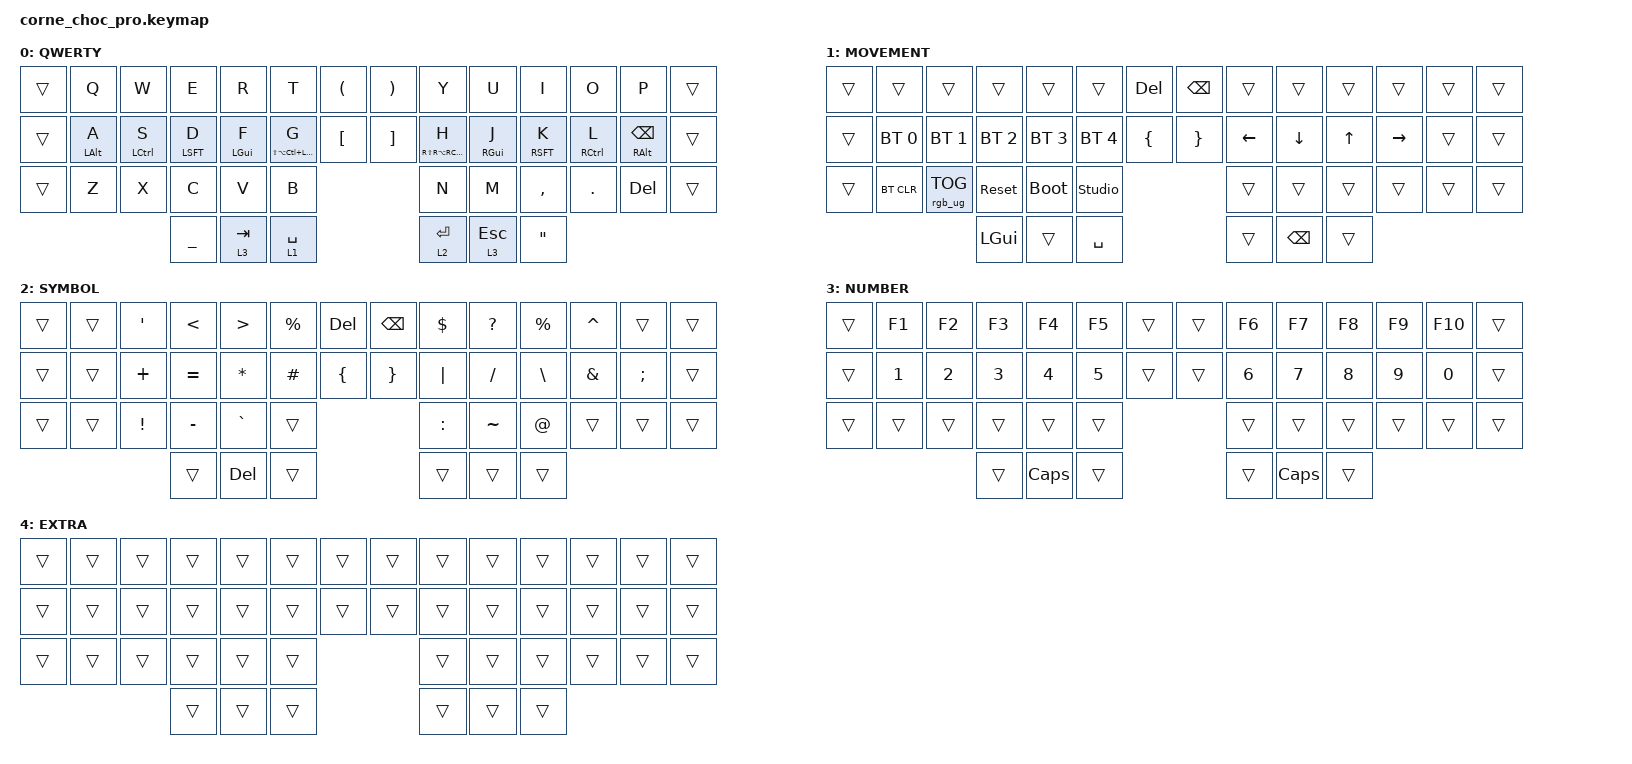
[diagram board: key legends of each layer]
/*
 * Copyright (c) 2020 The ZMK Contributors
 *
 * SPDX-License-Identifier: MIT
 */

#include <behaviors.dtsi>
#include <dt-bindings/zmk/behaviors.h>
#include <dt-bindings/zmk/keys.h>
#include <dt-bindings/zmk/bt.h>
#include <dt-bindings/zmk/rgb.h>

#define LHYP LS(LA(LC(LGUI)))   /* ⇧⌥⌃⌘  on the left side  */
#define RHYP RS(RA(RC(RGUI)))   /* ⇧⌥⌃⌘  on the right side */
#define KEYS_L 0 1 2 3 4 5 6 14 15 16 17 18 19 20 28 29 30 31 32 33 40 41 42
#define KEYS_R 7 8 9 10 11 12 13 21 22 23 24 25 26 27 34 35 36 37 38 39 43 44 45

/ {
    behaviors {
      hml: home_row_mod_left {
        compatible = "zmk,behavior-hold-tap";
        #binding-cells = <2>;
        flavor = "balanced";
        require-prior-idle-ms = <150>;   /* keeps fast typing snappy   */
        tapping-term-ms       = <280>;   /* gives you 0.28 s to decide */
        quick-tap-ms          = <225>;   /* repeat-tap grace window    */
        bindings = <&kp>, <&kp>;
        /* hold-trigger-key-positions = <KEYS_R>; */
        hold-trigger-on-release;
      };
      hmr: home_row_mod_right {
        compatible = "zmk,behavior-hold-tap";
        #binding-cells = <2>;
        flavor = "balanced";
        require-prior-idle-ms = <150>;
        tapping-term-ms       = <280>;
        quick-tap-ms          = <225>;
        bindings = <&kp>, <&kp>;
        /* hold-trigger-key-positions = <KEYS_L>; */
        hold-trigger-on-release;
      };
    };
    

    keymap {
        compatible = "zmk,keymap";

        default_layer {
            display-name = "QWERTY";
            bindings = <
                &trans  &kp Q       &kp W        &kp E       &kp R       &kp T        &kp LPAR     &kp RPAR  &kp Y       &kp U       &kp I       &kp O        &kp P          &trans
                &trans  &hml LALT A &hml LCTRL S &hml LSFT D &hml LGUI F &hml LHYP G  &kp LBKT     &kp RBKT  &hmr RHYP H &hmr RGUI J &hmr RSFT K &hmr RCTRL L &hmr RALT BSPC &trans
                &trans  &kp Z       &kp X        &kp C       &kp V       &kp B                               &kp N       &kp M       &kp COMMA   &kp DOT      &kp DEL        &trans
                                                 &kp UNDER   &lt 3 TAB   &lt 1 SPACE                         &lt 2 RET   &lt 3 ESC   &kp DQT
            >;
        };

        movement_layer {
            display-name = "MOVEMENT";
            bindings = <
                &trans &trans       &trans          &trans       &trans       &trans       &kp DEL   &kp BSPC  &trans   &trans   &trans   &trans  &trans    &trans
                &trans &bt BT_SEL 0 &bt BT_SEL 1    &bt BT_SEL 2 &bt BT_SEL 3 &bt BT_SEL 4 &kp LBRC  &kp RBRC  &kp LEFT &kp DOWN &kp UP   &kp RIGHT &trans  &trans
                &trans &bt BT_CLR   &rgb_ug RGB_TOG &sys_reset   &bootloader  &studio_unlock                   &trans   &trans   &trans   &trans  &trans    &trans
                                                    &kp LGUI     &trans       &kp SPACE                        &trans &kp BSPC &trans     
            >;
        };

        symbol_layer {
            display-name = "SYMBOL";
            bindings = <
                &trans    &trans   &kp APOS  &kp LT    &kp GT   &kp PRCNT &kp DEL   &kp BSPC  &kp DLLR  &kp QMARK &kp PRCNT &kp CARET &trans  &trans
                &trans    &trans   &kp PLUS  &kp EQUAL &kp STAR &kp HASH  &kp LBRC  &kp RBRC  &kp PIPE  &kp SLASH &kp BSLH  &kp AMPS  &kp SEMI &trans 
                &trans    &trans   &kp EXCL &kp MINUS &kp GRAVE &trans                        &kp COLON &kp TILDE &kp AT    &trans    &trans  &trans
                                             &trans    &kp DEL  &trans                        &trans    &trans    &trans
            >;
        };

        number_layer {
            display-name = "NUMBER";
            bindings = <
                &trans    &kp F1    &kp F2    &kp F3    &kp F4    &kp F5    &trans   &trans   &kp F6   &kp F7   &kp F8   &kp F9   &kp F10  &trans
                &trans    &kp N1    &kp N2    &kp N3    &kp N4    &kp N5    &trans   &trans   &kp N6   &kp N7   &kp N8   &kp N9   &kp N0   &trans
                &trans    &trans    &trans    &trans    &trans    &trans                      &trans   &trans   &trans   &trans   &trans   &trans
                                              &trans    &kp CLCK  &trans                      &trans   &kp CLCK &trans       
            >;
        };

        extra_layer {
            display-name = "EXTRA";
            bindings = <
                &trans &trans &trans &trans &trans &trans &trans &trans &trans &trans &trans &trans &trans &trans
                &trans &trans &trans &trans &trans &trans &trans &trans &trans &trans &trans &trans &trans &trans
                &trans &trans &trans &trans &trans &trans               &trans &trans &trans &trans &trans &trans
                                     &trans &trans &trans               &trans &trans &trans       
            >;
        };
    };
};
